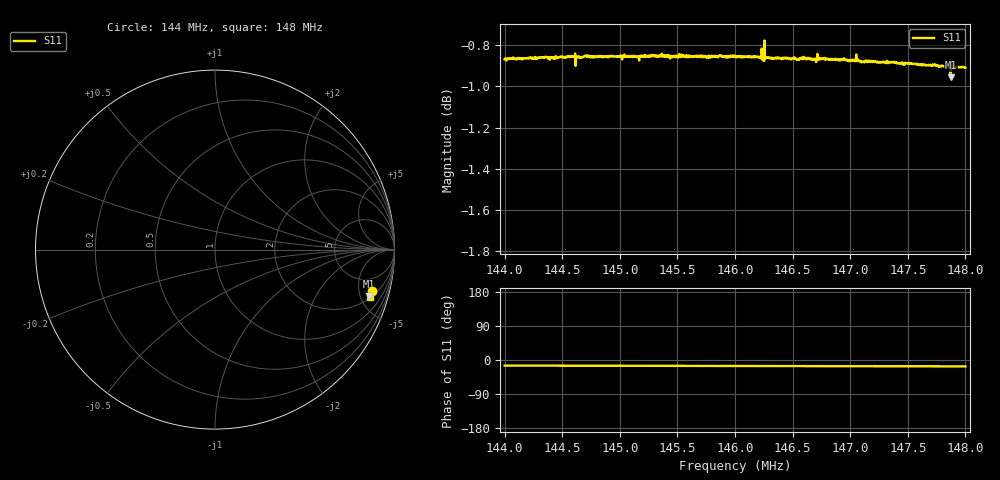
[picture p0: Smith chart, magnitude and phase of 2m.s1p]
! Calibrated averaged scanner-service zoom
# Hz S RI R 50
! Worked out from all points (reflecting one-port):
!   1001 points, 144 MHz to 148 MHz, reference 50 ohm
!   lowest |S11| = -1.0 dB at 147.87 MHz (marker M1), VSWR 18.19, Z = 113 - j296 ohm
!   phase of S11 starts at -15 deg and turns -2 deg over the sweep
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1.44e8  0.8755 -0.2289
1.445e8  0.8753 -0.2331
1.44592e8  0.8756 -0.2341
1.44636e8  0.8753 -0.2346
1.44708e8  0.8755 -0.2355
1.45e8  0.8748 -0.2378
1.455e8  0.8735 -0.2425
1.46e8  0.8719 -0.2465
1.46208e8  0.8713 -0.2483
1.46216e8  0.8713 -0.2485
1.46232e8  0.8755 -0.2498
1.46236e8  0.8719 -0.2487
1.4626e8  0.8703 -0.2486
1.46276e8  0.8706 -0.249
1.4628e8  0.8708 -0.249
1.46312e8  0.8703 -0.2491
1.465e8  0.8701 -0.2506
1.46612e8  0.8697 -0.2516
1.46688e8  0.8687 -0.2519
1.46732e8  0.8695 -0.2529
1.47e8  0.8675 -0.2548
1.47044e8  0.8673 -0.2551
1.47112e8  0.8667 -0.2554
1.475e8  0.865 -0.2588
1.47748e8  0.8631 -0.2606
1.47872e8  0.8573 -0.2595
1.47896e8  0.8626 -0.2611
1.48e8  0.8618 -0.2616
